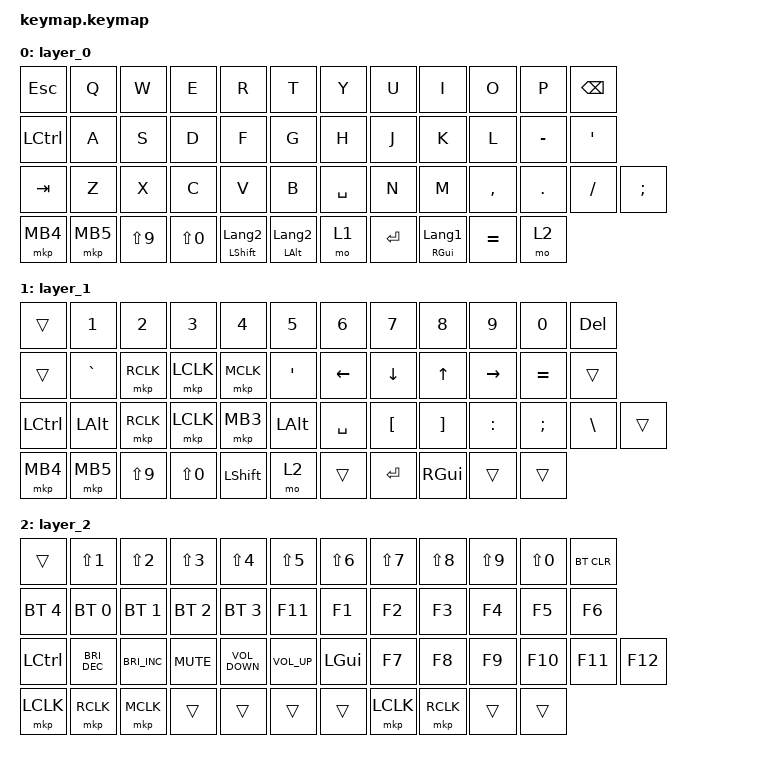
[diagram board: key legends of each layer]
#define ZMK_POINTING_DEFAULT_MOVE_VAL 600
#define ZMK_POINTING_DEFAULT_SCRL_VAL 10

#include <behaviors.dtsi>
#include <dt-bindings/zmk/bt.h>
#include <dt-bindings/zmk/keys.h>
#include <dt-bindings/zmk/pointing.h>

/ {
    keymap {
        compatible = "zmk,keymap";

        layer_0 {
            bindings = <
&kp ESCAPE        &kp Q     &kp W             &kp E             &kp R                  &kp T                    &kp Y      &kp U      &kp I                     &kp O      &kp P      &kp BACKSPACE
&kp LEFT_CONTROL  &kp A     &kp S             &kp D             &kp F                  &kp G                    &kp H      &kp J      &kp K                     &kp L      &kp MINUS  &kp APOSTROPHE
&kp TAB           &kp Z     &kp X             &kp C             &kp V                  &kp B                    &kp SPACE  &kp N      &kp M                     &kp COMMA  &kp DOT    &kp SLASH       &kp SEMICOLON
&mkp MB4          &mkp MB5  &kp LS(NUMBER_9)  &kp LS(NUMBER_0)  &mt LSHIFT LANGUAGE_2  &mt LEFT_ALT LANGUAGE_2  &mo 1      &kp ENTER  &mt RIGHT_GUI LANGUAGE_1  &kp EQUAL  &mo 2
            >;
        };

        layer_1 {
            bindings = <
&trans            &kp NUMBER_1  &kp NUMBER_2      &kp NUMBER_3      &kp NUMBER_4    &kp NUMBER_5      &kp NUMBER_6    &kp NUMBER_7      &kp NUMBER_8       &kp NUMBER_9     &kp NUMBER_0  &kp DELETE
&trans            &kp GRAVE     &mkp RCLK         &mkp LCLK         &mkp MCLK       &kp SINGLE_QUOTE  &kp LEFT_ARROW  &kp DOWN_ARROW    &kp UP_ARROW       &kp RIGHT_ARROW  &kp EQUAL     &trans
&kp LEFT_CONTROL  &kp LEFT_ALT  &mkp RCLK         &mkp LCLK         &mkp MB3        &kp LEFT_ALT      &kp SPACE       &kp LEFT_BRACKET  &kp RIGHT_BRACKET  &kp COLON        &kp SEMI      &kp BACKSLASH  &trans
&mkp MB4          &mkp MB5      &kp LS(NUMBER_9)  &kp LS(NUMBER_0)  &kp LEFT_SHIFT  &mo 2             &trans          &kp ENTER         &kp RIGHT_GUI      &trans           &trans
            >;
        };

        layer_2 {
            bindings = <
&trans            &kp LS(NUMBER_1)      &kp LS(NUMBER_2)      &kp LS(NUMBER_3)  &kp LS(NUMBER_4)   &kp LS(NUMBER_5)  &kp LS(NUMBER_6)  &kp LS(N7)  &kp LS(NUMBER_8)  &kp LS(NUMBER_9)  &kp LS(NUMBER_0)  &bt BT_CLR
&bt BT_SEL 4      &bt BT_SEL 0          &bt BT_SEL 1          &bt BT_SEL 2      &bt BT_SEL 3       &kp F11           &kp F1            &kp F2      &kp F3            &kp F4            &kp F5            &kp F6
&kp LEFT_CONTROL  &kp C_BRIGHTNESS_DEC  &kp C_BRIGHTNESS_INC  &kp K_MUTE        &kp C_VOLUME_DOWN  &kp C_VOLUME_UP   &kp LEFT_GUI      &kp F7      &kp F8            &kp F9            &kp F10           &kp F11     &kp F12
&mkp LCLK         &mkp RCLK             &mkp MCLK             &trans            &trans             &trans            &trans            &mkp LCLK   &mkp RCLK         &trans            &trans
            >;
        };
    };
};
